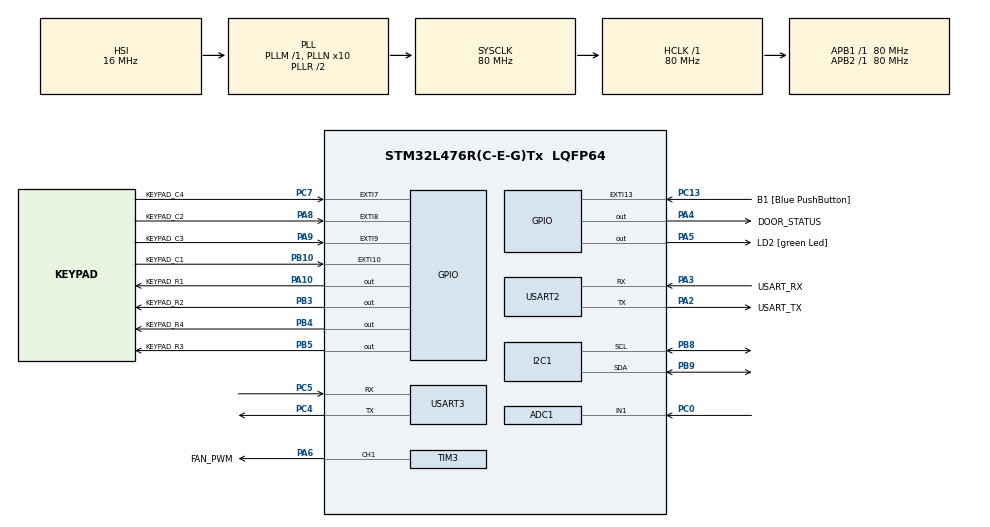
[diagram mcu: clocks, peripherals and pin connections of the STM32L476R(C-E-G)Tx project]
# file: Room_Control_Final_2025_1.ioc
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ADC1.Channel-1\#ChannelRegularConversion=ADC_CHANNEL_1
ADC1.ClockPrescaler=ADC_CLOCK_SYNC_PCLK_DIV2
ADC1.NbrOfConversionFlag=1
ADC1.OffsetNumber-1\#ChannelRegularConversion=ADC_OFFSET_NONE
ADC1.Rank-1\#ChannelRegularConversion=1
ADC1.SamplingTime-1\#ChannelRegularConversion=ADC_SAMPLETIME_2CYCLES_5
ADC1.master=1
Dma.Request0=TIM3_CH1/TRIG
Dma.TIM3_CH1/TRIG.0.Direction=DMA_MEMORY_TO_PERIPH
Dma.TIM3_CH1/TRIG.0.Instance=DMA1_Channel6
Dma.TIM3_CH1/TRIG.0.MemDataAlignment=DMA_MDATAALIGN_HALFWORD
Dma.TIM3_CH1/TRIG.0.MemInc=DMA_MINC_ENABLE
Dma.TIM3_CH1/TRIG.0.Mode=DMA_NORMAL
Dma.TIM3_CH1/TRIG.0.PeriphDataAlignment=DMA_PDATAALIGN_HALFWORD
Dma.TIM3_CH1/TRIG.0.PeriphInc=DMA_PINC_DISABLE
Dma.TIM3_CH1/TRIG.0.Priority=DMA_PRIORITY_LOW
I2C1.Timing=0x10909CEC
Mcu.Family=STM32L4
Mcu.Name=STM32L476R(C-E-G)Tx
Mcu.Package=LQFP64
NVIC.DMA1_Channel6_IRQn=true\:0\:0\:false\:false\:true\:false\:true\:true
NVIC.EXTI15_10_IRQn=true\:0\:0\:false\:false\:true\:true\:true\:true
NVIC.EXTI9_5_IRQn=true\:0\:0\:false\:false\:true\:true\:true\:true
NVIC.PriorityGroup=NVIC_PRIORITYGROUP_4
NVIC.USART2_IRQn=true\:0\:0\:false\:false\:true\:true\:true\:true
NVIC.USART3_IRQn=true\:0\:0\:false\:false\:true\:true\:true\:true
PA10.GPIO_Label=KEYPAD_R1
PA10.Signal=GPIO_Output
PA13\ (JTMS-SWDIO).GPIO_Label=TMS
PA13\ (JTMS-SWDIO).Mode=Serial_Wire
PA13\ (JTMS-SWDIO).Signal=SYS_JTMS-SWDIO
PA14\ (JTCK-SWCLK).GPIO_Label=TCK
PA14\ (JTCK-SWCLK).Mode=Serial_Wire
PA14\ (JTCK-SWCLK).Signal=SYS_JTCK-SWCLK
PA2.GPIO_Label=USART_TX
PA2.GPIO_Mode=GPIO_MODE_AF_PP
PA2.GPIO_PuPd=GPIO_NOPULL
PA2.GPIO_Speed=GPIO_SPEED_FREQ_VERY_HIGH
PA2.Mode=Asynchronous
PA2.Signal=USART2_TX
PA3.GPIO_Label=USART_RX
PA3.GPIO_Mode=GPIO_MODE_AF_PP
PA3.GPIO_PuPd=GPIO_NOPULL
PA3.GPIO_Speed=GPIO_SPEED_FREQ_VERY_HIGH
PA3.Mode=Asynchronous
PA3.Signal=USART2_RX
PA4.GPIO_Label=DOOR_STATUS
PA4.Signal=GPIO_Output
PA5.GPIO_Label=LD2 [green Led]
PA5.GPIO_ModeDefaultOutputPP=GPIO_MODE_OUTPUT_PP
PA5.GPIO_PuPd=GPIO_NOPULL
PA5.GPIO_Speed=GPIO_SPEED_FREQ_LOW
PA5.Signal=GPIO_Output
PA6.GPIO_Label=FAN_PWM
PA6.Signal=S_TIM3_CH1
PA8.GPIO_Label=KEYPAD_C2
PA8.GPIO_ModeDefaultEXTI=GPIO_MODE_IT_FALLING
PA8.GPIO_PuPd=GPIO_PULLUP
PA8.Signal=GPXTI8
PA9.GPIO_Label=KEYPAD_C3
PA9.GPIO_ModeDefaultEXTI=GPIO_MODE_IT_FALLING
PA9.GPIO_PuPd=GPIO_PULLUP
PA9.Signal=GPXTI9
PB10.GPIO_Label=KEYPAD_C1
PB10.GPIO_ModeDefaultEXTI=GPIO_MODE_IT_FALLING
PB10.GPIO_PuPd=GPIO_PULLUP
PB10.Signal=GPXTI10
PB3\ (JTDO-TRACESWO).GPIO_Label=KEYPAD_R2
PB3\ (JTDO-TRACESWO).Signal=GPIO_Output
PB4\ (NJTRST).GPIO_Label=KEYPAD_R4
PB4\ (NJTRST).Signal=GPIO_Output
PB5.GPIO_Label=KEYPAD_R3
PB5.Signal=GPIO_Output
PB8.Mode=I2C
PB8.Signal=I2C1_SCL
PB9.Mode=I2C
PB9.Signal=I2C1_SDA
PC0.Signal=ADCx_IN1
PC13.GPIO_Label=B1 [Blue PushButton]
PC13.GPIO_ModeDefaultEXTI=GPIO_MODE_IT_FALLING
PC13.GPIO_PuPd=GPIO_NOPULL
PC13.Signal=GPXTI13
PC14-OSC32_IN\ (PC14).Mode=LSE-External-Oscillator
PC14-OSC32_IN\ (PC14).Signal=RCC_OSC32_IN
PC15-OSC32_OUT\ (PC15).Mode=LSE-External-Oscillator
PC15-OSC32_OUT\ (PC15).Signal=RCC_OSC32_OUT
PC4.Mode=Asynchronous
PC4.Signal=USART3_TX
PC5.Mode=Asynchronous
PC5.Signal=USART3_RX
PC7.GPIO_Label=KEYPAD_C4
PC7.GPIO_ModeDefaultEXTI=GPIO_MODE_IT_FALLING
PC7.GPIO_PuPd=GPIO_PULLUP
PC7.Signal=GPXTI7
PH0-OSC_IN\ (PH0).Signal=RCC_OSC_IN
PH1-OSC_OUT\ (PH1).Signal=RCC_OSC_OUT
ProjectManager.HeapSize=0x200
ProjectManager.StackSize=0x400
ProjectManager.TargetToolchain=CMake
RCC.ADCFreq_Value=64000000
RCC.AHBFreq_Value=80000000
RCC.APB1Freq_Value=80000000
RCC.APB1TimFreq_Value=80000000
RCC.APB2Freq_Value=80000000
RCC.APB2TimFreq_Value=80000000
RCC.CortexFreq_Value=80000000
RCC.HCLKFreq_Value=80000000
RCC.HSE_VALUE=8000000
RCC.HSI_VALUE=16000000
RCC.MSI_VALUE=4000000
RCC.PLLN=10
RCC.PLLSourceVirtual=RCC_PLLSOURCE_HSI
RCC.PREFETCH_ENABLE=1
RCC.SYSCLKFreq_VALUE=80000000
RCC.SYSCLKSource=RCC_SYSCLKSOURCE_PLLCLK
RCC.USBFreq_Value=64000000
RCC.VCOOutputFreq_Value=160000000
SH.ADCx_IN1.0=ADC1_IN1,IN1-Single-Ended
SH.S_TIM3_CH1.0=TIM3_CH1,PWM Generation1 CH1
TIM3.Channel-PWM\ Generation1\ CH1=TIM_CHANNEL_1
TIM3.Period=100 - 1
TIM3.Prescaler=8000 - 1
USART2.VirtualMode-Asynchronous=VM_ASYNC
USART3.VirtualMode-Asynchronous=VM_ASYNC
board=NUCLEO-L476RG

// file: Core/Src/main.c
/* USER CODE BEGIN Header */
/**
  ******************************************************************************
  * @file           : main.c
  * @brief          : Main program body
  ******************************************************************************
  * @attention
  *
  * Copyright (c) 2025 STMicroelectronics.
  * All rights reserved.
  *
  * This software is licensed under terms that can be found in the LICENSE file
  * in the root directory of this software component.
  * If no LICENSE file comes with this software, it is provided AS-IS.
  *
  ******************************************************************************
  */
/* USER CODE END Header */
#include "main.h"

/* USER CODE BEGIN Includes */
#include "led.h"
#include "keypad.h"
#include "ring_buffer.h"
#include "room_control.h"
#include <stdio.h>

#include "temperature_sensor.h" // Include the temperature sensor header

#include "command_parser.h" // Include the command parser header

#include "ssd1306.h"
#include "ssd1306_fonts.h"

/* USER CODE END Includes */

ADC_HandleTypeDef hadc1;

I2C_HandleTypeDef hi2c1;

TIM_HandleTypeDef htim3;
DMA_HandleTypeDef hdma_tim3_ch1_trig;

UART_HandleTypeDef huart2;
UART_HandleTypeDef huart3;

/* USER CODE BEGIN PV */
#define RX_BUFFER_SIZE 64
char usart2_rx_buffer[RX_BUFFER_SIZE];
uint8_t usart2_rx_index = 0;

#define RX3_BUFFER_SIZE 64
char usart3_rx_buffer[RX3_BUFFER_SIZE];
uint8_t usart3_rx_index = 0;

uint8_t button_pressed = 0; // Flag to indicate if the button is pressed

uint8_t usart_2_rxbyte = 0;
uint8_t usart_3_rxbyte = 0;

led_handle_t heartbeat_led = {
    .port = LD2_GPIO_Port,
    .pin = LD2_Pin
};

keypad_handle_t keypad = {
    .row_ports = {KEYPAD_R1_GPIO_Port, KEYPAD_R2_GPIO_Port, KEYPAD_R3_GPIO_Port, KEYPAD_R4_GPIO_Port},
    .row_pins  = {KEYPAD_R1_Pin, KEYPAD_R2_Pin, KEYPAD_R3_Pin, KEYPAD_R4_Pin},
    .col_ports = {KEYPAD_C1_GPIO_Port, KEYPAD_C2_GPIO_Port, KEYPAD_C3_GPIO_Port, KEYPAD_C4_GPIO_Port},
    .col_pins  = {KEYPAD_C1_Pin, KEYPAD_C2_Pin, KEYPAD_C3_Pin, KEYPAD_C4_Pin}
};

#define KEYPAD_BUFFER_LEN 16
uint8_t keypad_buffer[KEYPAD_BUFFER_LEN];
ring_buffer_t keypad_rb;

volatile uint16_t keypad_interrupt_pin = 0;

// Room control system instance
room_control_t room_system;
/* USER CODE END PV */

void SystemClock_Config(void);
static void MX_GPIO_Init(void);
static void MX_DMA_Init(void);
static void MX_USART2_UART_Init(void);
static void MX_I2C1_Init(void);
static void MX_TIM3_Init(void);
static void MX_USART3_UART_Init(void);
static void MX_ADC1_Init(void);

/* USER CODE BEGIN 0 */
void HAL_GPIO_EXTI_Callback(uint16_t GPIO_Pin)
{
  if (GPIO_Pin == B1_Pin) {
    button_pressed = 1; // Set the flag when the button is pressed
  } else {
    keypad_interrupt_pin = GPIO_Pin;
  }
}

void HAL_UART_RxCpltCallback(UART_HandleTypeDef *huart)
{

    if (huart->Instance == USART3) {
        // Procesa el byte recibido por ESP-01 (USART3)
        command_parser_process_esp01(usart_3_rxbyte);
        // Vuelve a habilitar la recepción por interrupción

      HAL_UART_Receive_IT(&huart3, &usart_3_rxbyte, 1);
    } else if (huart->Instance == USART2) {
        // Si quieres procesar comandos por debug (USART2), puedes usar:
        command_parser_process_debug(usart_2_rxbyte);
      HAL_UART_Receive_IT(&huart2, &usart_2_rxbyte, 1);
    }

}

void heartbeat(void)
{
  static uint32_t last_toggle = 0;
  if (HAL_GetTick() - last_toggle >= 500) { // Toggle every 500 ms
    led_toggle(&heartbeat_led); // Toggle the heartbeat LED
    last_toggle = HAL_GetTick();
  }
}

void write_to_oled(char *message, SSD1306_COLOR color, uint8_t x, uint8_t y)
{
  ssd1306_Fill(Black); // Clear the display
  ssd1306_SetCursor(x, y); // Set cursor to the specified position
  ssd1306_WriteString(message, Font_7x10, color);
  ssd1306_UpdateScreen(); // Update the display to show the message
}

float read_temperature(void)
{
    HAL_ADC_Start(&hadc1);
    HAL_ADC_PollForConversion(&hadc1, HAL_MAX_DELAY);
    uint32_t adc_value = HAL_ADC_GetValue(&hadc1);
    HAL_ADC_Stop(&hadc1);

    // Simulación: 0-4095 ADC -> 0-50°C
    float temperature = (adc_value * 50.0f) / 4095.0f;
    return temperature;
}
/* USER CODE END 0 */

int main(void)
{

  /* MCU Configuration--------------------------------------------------------*/

  /* Reset of all peripherals, Initializes the Flash interface and the Systick. */
  HAL_Init();

  /* Configure the system clock */
  SystemClock_Config();

  /* Initialize all configured peripherals */
  MX_GPIO_Init();
  MX_DMA_Init();
  MX_USART2_UART_Init();
  MX_I2C1_Init();
  MX_TIM3_Init();
  MX_USART3_UART_Init();
  MX_ADC1_Init();
  /* USER CODE BEGIN 2 */
  led_init(&heartbeat_led);
  ssd1306_Init();
  HAL_UART_Receive_IT(&huart3, &usart_3_rxbyte, 1);

  ring_buffer_init(&keypad_rb, keypad_buffer, KEYPAD_BUFFER_LEN);
  keypad_init(&keypad);

  // TODO: TAREA - Descomentar cuando implementen la lógica del sistema
  room_control_init(&room_system);

  // Inicia el canal PWM del ventilador (TIM3_CH1)
  HAL_TIM_PWM_Start(&htim3, TIM_CHANNEL_1);

  // Fuerza el ventilador al 100% para probar el hardware
  room_control_force_fan_level(&room_system, FAN_LEVEL_HIGH);

  // Inicia la recepción de datos por UART2 y UART3
  HAL_UART_Receive_IT(&huart2, &usart_2_rxbyte, 1);

  // Inicia la recepción de datos por UART3 (ESP01)
  HAL_UART_Receive_IT(&huart3, &usart_3_rxbyte, 1);

  /* USER CODE END 2 */

  /* Infinite loop */
  /* USER CODE BEGIN WHILE */
  // Clear the display
  ssd1306_Fill(Black);
  // Display a message on the OLED
  ssd1306_SetCursor(17, 17); // Set cursor to the center
  ssd1306_WriteString("Hello, 4100901!", Font_7x10, White);
  ssd1306_UpdateScreen(); // Update the display to show the
  HAL_UART_Transmit(&huart2, (uint8_t *)"Hello, 4100901!\r\n", 17, HAL_MAX_DELAY);

  while (1) {
    heartbeat(); // Call the heartbeat function to toggle the LED

    // TODO: TAREA - Descomentar cuando implementen la máquina de estados
    room_control_update(&room_system);

    // DEMO: Keypad functionality - Remove when implementing room control logic
    if (keypad_interrupt_pin != 0) {
      char key = keypad_scan(&keypad, keypad_interrupt_pin);
      if (key != '\0') {

        // TODO: TAREA - Descomentar para enviar teclas al sistema de control
        room_control_process_key(&room_system, key);
      }
      keypad_interrupt_pin = 0;
    }

    // DEMO: Button functionality - Remove when implementing room control logic
    if (button_pressed) {
      write_to_oled("Button Pressed!", White, 17, 17); // Display message on OLED
      button_pressed = 0; // Reset the flag
    }

    // TODO: TAREA - Implementar procesamiento de comandos remotos
    // command_parser_process(); // Procesar comandos de UART2 y UART3

    // TODO: TAREA - Leer sensor de temperatura y actualizar sistema
    // float temperature = temperature_sensor_read();
    // room_control_set_temperature(&room_system, temperature);
    float temp = temperature_sensor_read();
    room_control_set_temperature(&room_system, temp);

    room_control_update(&room_system);

    /* USER CODE END WHILE */

  }
}

void SystemClock_Config(void)
{
  RCC_OscInitTypeDef RCC_OscInitStruct = {0};
  RCC_ClkInitTypeDef RCC_ClkInitStruct = {0};

  /** Configure the main internal regulator output voltage
  */
  if (HAL_PWREx_ControlVoltageScaling(PWR_REGULATOR_VOLTAGE_SCALE1) != HAL_OK)
  {
    Error_Handler();
  }

  /** Initializes the RCC Oscillators according to the specified parameters
  * in the RCC_OscInitTypeDef structure.
  */
  RCC_OscInitStruct.OscillatorType = RCC_OSCILLATORTYPE_HSI;
  RCC_OscInitStruct.HSIState = RCC_HSI_ON;
  RCC_OscInitStruct.HSICalibrationValue = RCC_HSICALIBRATION_DEFAULT;
  RCC_OscInitStruct.PLL.PLLState = RCC_PLL_ON;
  RCC_OscInitStruct.PLL.PLLSource = RCC_PLLSOURCE_HSI;
  RCC_OscInitStruct.PLL.PLLM = 1;
  RCC_OscInitStruct.PLL.PLLN = 10;
  RCC_OscInitStruct.PLL.PLLP = RCC_PLLP_DIV7;
  RCC_OscInitStruct.PLL.PLLQ = RCC_PLLQ_DIV2;
  RCC_OscInitStruct.PLL.PLLR = RCC_PLLR_DIV2;
  if (HAL_RCC_OscConfig(&RCC_OscInitStruct) != HAL_OK)
  {
    Error_Handler();
  }

  /** Initializes the CPU, AHB and APB buses clocks
  */
  RCC_ClkInitStruct.ClockType = RCC_CLOCKTYPE_HCLK|RCC_CLOCKTYPE_SYSCLK
                              |RCC_CLOCKTYPE_PCLK1|RCC_CLOCKTYPE_PCLK2;
  RCC_ClkInitStruct.SYSCLKSource = RCC_SYSCLKSOURCE_PLLCLK;
  RCC_ClkInitStruct.AHBCLKDivider = RCC_SYSCLK_DIV1;
  RCC_ClkInitStruct.APB1CLKDivider = RCC_HCLK_DIV1;
  RCC_ClkInitStruct.APB2CLKDivider = RCC_HCLK_DIV1;

  if (HAL_RCC_ClockConfig(&RCC_ClkInitStruct, FLASH_LATENCY_4) != HAL_OK)
  {
    Error_Handler();
  }
}

static void MX_ADC1_Init(void)
{

  ADC_MultiModeTypeDef multimode = {0};
  ADC_ChannelConfTypeDef sConfig = {0};

  /** Common config
  */
  hadc1.Instance = ADC1;
  hadc1.Init.ClockPrescaler = ADC_CLOCK_SYNC_PCLK_DIV2;
  hadc1.Init.Resolution = ADC_RESOLUTION_12B;
  hadc1.Init.DataAlign = ADC_DATAALIGN_RIGHT;
  hadc1.Init.ScanConvMode = ADC_SCAN_DISABLE;
  hadc1.Init.EOCSelection = ADC_EOC_SINGLE_CONV;
  hadc1.Init.LowPowerAutoWait = DISABLE;
  hadc1.Init.ContinuousConvMode = DISABLE;
  hadc1.Init.NbrOfConversion = 1;
  hadc1.Init.DiscontinuousConvMode = DISABLE;
  hadc1.Init.ExternalTrigConv = ADC_SOFTWARE_START;
  hadc1.Init.ExternalTrigConvEdge = ADC_EXTERNALTRIGCONVEDGE_NONE;
  hadc1.Init.DMAContinuousRequests = DISABLE;
  hadc1.Init.Overrun = ADC_OVR_DATA_PRESERVED;
  hadc1.Init.OversamplingMode = DISABLE;
  if (HAL_ADC_Init(&hadc1) != HAL_OK)
  {
    Error_Handler();
  }

  /** Configure the ADC multi-mode
  */
  multimode.Mode = ADC_MODE_INDEPENDENT;
  if (HAL_ADCEx_MultiModeConfigChannel(&hadc1, &multimode) != HAL_OK)
  {
    Error_Handler();
  }

  /** Configure Regular Channel
  */
  sConfig.Channel = ADC_CHANNEL_1;
  sConfig.Rank = ADC_REGULAR_RANK_1;
  sConfig.SamplingTime = ADC_SAMPLETIME_2CYCLES_5;
  sConfig.SingleDiff = ADC_SINGLE_ENDED;
  sConfig.OffsetNumber = ADC_OFFSET_NONE;
  sConfig.Offset = 0;
  if (HAL_ADC_ConfigChannel(&hadc1, &sConfig) != HAL_OK)
  {
    Error_Handler();
  }

}

static void MX_I2C1_Init(void)
{

  hi2c1.Instance = I2C1;
  hi2c1.Init.Timing = 0x10909CEC;
  hi2c1.Init.OwnAddress1 = 0;
  hi2c1.Init.AddressingMode = I2C_ADDRESSINGMODE_7BIT;
  hi2c1.Init.DualAddressMode = I2C_DUALADDRESS_DISABLE;
  hi2c1.Init.OwnAddress2 = 0;
  hi2c1.Init.OwnAddress2Masks = I2C_OA2_NOMASK;
  hi2c1.Init.GeneralCallMode = I2C_GENERALCALL_DISABLE;
  hi2c1.Init.NoStretchMode = I2C_NOSTRETCH_DISABLE;
  if (HAL_I2C_Init(&hi2c1) != HAL_OK)
  {
    Error_Handler();
  }

  /** Configure Analogue filter
  */
  if (HAL_I2CEx_ConfigAnalogFilter(&hi2c1, I2C_ANALOGFILTER_ENABLE) != HAL_OK)
  {
    Error_Handler();
  }

  /** Configure Digital filter
  */
  if (HAL_I2CEx_ConfigDigitalFilter(&hi2c1, 0) != HAL_OK)
  {
    Error_Handler();
  }

}

static void MX_TIM3_Init(void)
{

  TIM_MasterConfigTypeDef sMasterConfig = {0};
  TIM_OC_InitTypeDef sConfigOC = {0};

  htim3.Instance = TIM3;
  htim3.Init.Prescaler = 8000 - 1;
  htim3.Init.CounterMode = TIM_COUNTERMODE_UP;
  htim3.Init.Period = 100 - 1;
  htim3.Init.ClockDivision = TIM_CLOCKDIVISION_DIV1;
  htim3.Init.AutoReloadPreload = TIM_AUTORELOAD_PRELOAD_DISABLE;
  if (HAL_TIM_PWM_Init(&htim3) != HAL_OK)
  {
    Error_Handler();
  }
  sMasterConfig.MasterOutputTrigger = TIM_TRGO_RESET;
  sMasterConfig.MasterSlaveMode = TIM_MASTERSLAVEMODE_DISABLE;
  if (HAL_TIMEx_MasterConfigSynchronization(&htim3, &sMasterConfig) != HAL_OK)
  {
    Error_Handler();
  }
  sConfigOC.OCMode = TIM_OCMODE_PWM1;
  sConfigOC.Pulse = 0;
  sConfigOC.OCPolarity = TIM_OCPOLARITY_HIGH;
  sConfigOC.OCFastMode = TIM_OCFAST_DISABLE;
  if (HAL_TIM_PWM_ConfigChannel(&htim3, &sConfigOC, TIM_CHANNEL_1) != HAL_OK)
  {
    Error_Handler();
  }
  HAL_TIM_MspPostInit(&htim3);

}

static void MX_USART2_UART_Init(void)
{

  huart2.Instance = USART2;
  huart2.Init.BaudRate = 115200;
  huart2.Init.WordLength = UART_WORDLENGTH_8B;
  huart2.Init.StopBits = UART_STOPBITS_1;
  huart2.Init.Parity = UART_PARITY_NONE;
  huart2.Init.Mode = UART_MODE_TX_RX;
  huart2.Init.HwFlowCtl = UART_HWCONTROL_NONE;
  huart2.Init.OverSampling = UART_OVERSAMPLING_16;
  huart2.Init.OneBitSampling = UART_ONE_BIT_SAMPLE_DISABLE;
  huart2.AdvancedInit.AdvFeatureInit = UART_ADVFEATURE_NO_INIT;
  if (HAL_UART_Init(&huart2) != HAL_OK)
  {
    Error_Handler();
  }

}

static void MX_USART3_UART_Init(void)
{

  huart3.Instance = USART3;
  huart3.Init.BaudRate = 115200;
  huart3.Init.WordLength = UART_WORDLENGTH_8B;
  huart3.Init.StopBits = UART_STOPBITS_1;
  huart3.Init.Parity = UART_PARITY_NONE;
  huart3.Init.Mode = UART_MODE_TX_RX;
  huart3.Init.HwFlowCtl = UART_HWCONTROL_NONE;
  huart3.Init.OverSampling = UART_OVERSAMPLING_16;
  huart3.Init.OneBitSampling = UART_ONE_BIT_SAMPLE_DISABLE;
  huart3.AdvancedInit.AdvFeatureInit = UART_ADVFEATURE_NO_INIT;
  if (HAL_UART_Init(&huart3) != HAL_OK)
  {
    Error_Handler();
  }

}

static void MX_DMA_Init(void)
{

  /* DMA controller clock enable */
  __HAL_RCC_DMA1_CLK_ENABLE();

  /* DMA interrupt init */
  /* DMA1_Channel6_IRQn interrupt configuration */
  HAL_NVIC_SetPriority(DMA1_Channel6_IRQn, 0, 0);
  HAL_NVIC_EnableIRQ(DMA1_Channel6_IRQn);

}

static void MX_GPIO_Init(void)
{
  GPIO_InitTypeDef GPIO_InitStruct = {0};

  /* GPIO Ports Clock Enable */
  __HAL_RCC_GPIOC_CLK_ENABLE();
  __HAL_RCC_GPIOH_CLK_ENABLE();
  __HAL_RCC_GPIOA_CLK_ENABLE();
  __HAL_RCC_GPIOB_CLK_ENABLE();

  /*Configure GPIO pin Output Level */
  HAL_GPIO_WritePin(GPIOA, DOOR_STATUS_Pin|LD2_Pin|KEYPAD_R1_Pin, GPIO_PIN_RESET);

  /*Configure GPIO pin Output Level */
  HAL_GPIO_WritePin(GPIOB, KEYPAD_R2_Pin|KEYPAD_R4_Pin|KEYPAD_R3_Pin, GPIO_PIN_RESET);

  /*Configure GPIO pin : B1_Pin */
  GPIO_InitStruct.Pin = B1_Pin;
  GPIO_InitStruct.Mode = GPIO_MODE_IT_FALLING;
  GPIO_InitStruct.Pull = GPIO_NOPULL;
  HAL_GPIO_Init(B1_GPIO_Port, &GPIO_InitStruct);

  /*Configure GPIO pins : DOOR_STATUS_Pin LD2_Pin KEYPAD_R1_Pin */
  GPIO_InitStruct.Pin = DOOR_STATUS_Pin|LD2_Pin|KEYPAD_R1_Pin;
  GPIO_InitStruct.Mode = GPIO_MODE_OUTPUT_PP;
  GPIO_InitStruct.Pull = GPIO_NOPULL;
  GPIO_InitStruct.Speed = GPIO_SPEED_FREQ_LOW;
  HAL_GPIO_Init(GPIOA, &GPIO_InitStruct);

  /*Configure GPIO pin : KEYPAD_C1_Pin */
  GPIO_InitStruct.Pin = KEYPAD_C1_Pin;
  GPIO_InitStruct.Mode = GPIO_MODE_IT_FALLING;
  GPIO_InitStruct.Pull = GPIO_PULLUP;
  HAL_GPIO_Init(KEYPAD_C1_GPIO_Port, &GPIO_InitStruct);

  /*Configure GPIO pin : KEYPAD_C4_Pin */
  GPIO_InitStruct.Pin = KEYPAD_C4_Pin;
  GPIO_InitStruct.Mode = GPIO_MODE_IT_FALLING;
  GPIO_InitStruct.Pull = GPIO_PULLUP;
  HAL_GPIO_Init(KEYPAD_C4_GPIO_Port, &GPIO_InitStruct);

  /*Configure GPIO pins : KEYPAD_C2_Pin KEYPAD_C3_Pin */
  GPIO_InitStruct.Pin = KEYPAD_C2_Pin|KEYPAD_C3_Pin;
  GPIO_InitStruct.Mode = GPIO_MODE_IT_FALLING;
  GPIO_InitStruct.Pull = GPIO_PULLUP;
  HAL_GPIO_Init(GPIOA, &GPIO_InitStruct);

  /*Configure GPIO pins : KEYPAD_R2_Pin KEYPAD_R4_Pin KEYPAD_R3_Pin */
  GPIO_InitStruct.Pin = KEYPAD_R2_Pin|KEYPAD_R4_Pin|KEYPAD_R3_Pin;
  GPIO_InitStruct.Mode = GPIO_MODE_OUTPUT_PP;
  GPIO_InitStruct.Pull = GPIO_NOPULL;
  GPIO_InitStruct.Speed = GPIO_SPEED_FREQ_LOW;
  HAL_GPIO_Init(GPIOB, &GPIO_InitStruct);

  /* EXTI interrupt init*/
  HAL_NVIC_SetPriority(EXTI9_5_IRQn, 0, 0);
  HAL_NVIC_EnableIRQ(EXTI9_5_IRQn);

  HAL_NVIC_SetPriority(EXTI15_10_IRQn, 0, 0);
  HAL_NVIC_EnableIRQ(EXTI15_10_IRQn);

  /* USER CODE BEGIN MX_GPIO_Init_2 */
    // USART3 TX: PC4
  GPIO_InitStruct.Pin = GPIO_PIN_4;
  GPIO_InitStruct.Mode = GPIO_MODE_AF_PP;
  GPIO_InitStruct.Pull = GPIO_NOPULL;
  GPIO_InitStruct.Speed = GPIO_SPEED_FREQ_VERY_HIGH;
  GPIO_InitStruct.Alternate = GPIO_AF7_USART3;
  HAL_GPIO_Init(GPIOC, &GPIO_InitStruct);

  // USART3 RX: PC5
  GPIO_InitStruct.Pin = GPIO_PIN_5;
  HAL_GPIO_Init(GPIOC, &GPIO_InitStruct);
  /* USER CODE END MX_GPIO_Init_2 */
}

void Error_Handler(void)
{
  __disable_irq();
  while (1)
  {
  }
}
